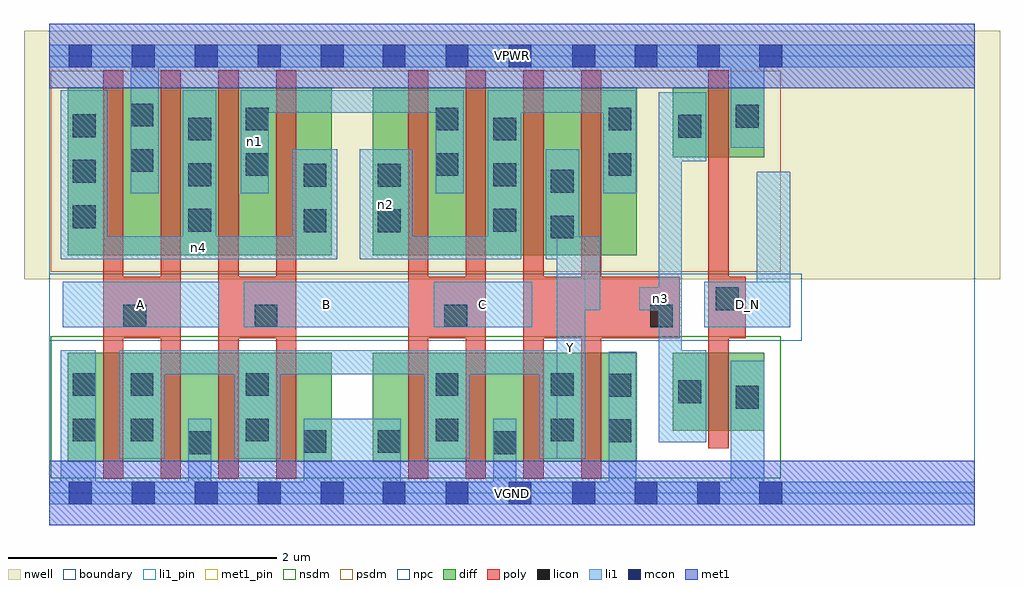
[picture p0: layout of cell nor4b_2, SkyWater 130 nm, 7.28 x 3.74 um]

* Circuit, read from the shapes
.subckt nor4b_2 A B C D_N VGND VPWR Y n1 n2 n3 n4
XM1 Y A VGND VSUBS sky130_fd_pr__nfet_01v8 w=0.81 l=0.15 m=2
XM2 Y B VGND VSUBS sky130_fd_pr__nfet_01v8 w=0.81 l=0.15 m=2
XM3 Y C VGND VSUBS sky130_fd_pr__nfet_01v8 w=0.81 l=0.15 m=2
XM4 Y n3 VGND VSUBS sky130_fd_pr__nfet_01v8 w=0.81 l=0.15 m=2
XM5 VGND D_N n3 VSUBS sky130_fd_pr__nfet_01v8 w=0.58 l=0.15
XM6 VPWR A n4 n5 sky130_fd_pr__pfet_01v8 w=1.25 l=0.15 m=2
XM7 n1 B n4 n5 sky130_fd_pr__pfet_01v8 w=1.25 l=0.15 m=2
XM8 n1 C n2 n5 sky130_fd_pr__pfet_01v8 w=1.25 l=0.15 m=2
XM9 Y n3 n2 n5 sky130_fd_pr__pfet_01v8 w=1.25 l=0.15 m=2
XM10 VPWR D_N n3 n5 sky130_fd_pr__pfet_01v8 w=0.52 l=0.15
.ends

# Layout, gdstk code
import gdstk
lib = gdstk.Library(unit=1e-6, precision=1e-09)
def R(c, l, rs):  # rectangles x0, y0, x1, y1
    for r in rs: c.add(gdstk.rectangle(r[:2], r[2:], *l))
def A(c, l, x, y, w, h, nx, ny, dx, dy):  # array of equal rectangles
    R(c, l, [(x+i*dx, y+j*dy, x+i*dx+w, y+j*dy+h) for i in range(nx) for j in range(ny)])
nwell = (64, 20)
diff = (65, 20)
poly = (66, 20)
licon = (66, 44)
li1_pin = (67, 16)
li1 = (67, 20)
mcon = (67, 44)
met1_pin = (68, 16)
met1 = (68, 20)
nsdm = (93, 44)
psdm = (94, 20)
npc = (95, 20)
boundary = (235, 4)

nor4b_2 = lib.new_cell('nor4b_2')
R(nor4b_2, nwell, [(-0.19,1.595,7.09,3.45), (0,1.595,6.9,3.45)])
R(nor4b_2, diff, [(0.135,0.235,2.105,1.045), (2.41,0.235,4.38,1.045), (4.65,0.465,5.33,1.045), (0.135,1.775,2.105,3.025), (2.41,1.775,4.38,3.025), (4.65,2.505,5.33,3.025)])
A(nor4b_2, poly, 0.4, 0.105, 0.15, 3.05, 4, 1, 0.43, 0)
A(nor4b_2, poly, 2.675, 0.105, 0.15, 3.05, 4, 1, 0.43, 0)
R(nor4b_2, poly, [(4.915,0.335,5.065,3.155), (0.4,1.155,0.98,1.615), (1.26,1.155,1.84,1.615), (2.675,1.155,3.255,1.615), (3.535,1.155,4.7,1.615), (4.915,1.155,5.195,1.615)])
A(nor4b_2, licon, 1.035, 1.95, 0.17, 0.17, 1, 3, 0, 0.34)
A(nor4b_2, licon, 3.31, 1.95, 0.17, 0.17, 1, 3, 0, 0.34)
A(nor4b_2, licon, 0.175, 1.975, 0.17, 0.17, 1, 3, 0, 0.34)
R(nor4b_2, licon, [(1.035,0.29,1.205,0.46), (3.31,0.29,3.48,0.46), (1.895,0.3,2.065,0.47), (2.45,0.3,2.62,0.47), (4.17,0.38,4.34,0.55), (0.175,0.385,0.345,0.555), (0.605,0.385,0.775,0.555), (1.465,0.385,1.635,0.555), (2.88,0.385,3.05,0.555), (3.74,0.385,3.91,0.555), (5.12,0.63,5.29,0.8), (4.69,0.67,4.86,0.84), (4.17,0.72,4.34,0.89), (0.175,0.725,0.345,0.895), (0.605,0.725,0.775,0.895), (1.465,0.725,1.635,0.895), (2.88,0.725,3.05,0.895), (3.74,0.725,3.91,0.895), (0.55,1.235,0.72,1.405), (1.53,1.235,1.7,1.405), (2.945,1.235,3.115,1.405), (4.48,1.235,4.65,1.405), (4.97,1.365,5.14,1.535), (3.74,1.9,3.91,2.07), (1.895,1.945,2.065,2.115), (2.45,1.945,2.62,2.115), (3.74,2.24,3.91,2.41), (1.895,2.285,2.065,2.455), (2.45,2.285,2.62,2.455), (1.465,2.365,1.635,2.535), (2.88,2.365,3.05,2.535), (4.17,2.365,4.34,2.535), (0.605,2.395,0.775,2.565), (4.69,2.65,4.86,2.82), (1.465,2.705,1.635,2.875), (2.88,2.705,3.05,2.875), (4.17,2.705,4.34,2.875), (5.12,2.725,5.29,2.895), (0.605,2.735,0.775,2.905)])
R(nor4b_2, li1_pin, [(3.785,0.255,3.995,1.915), (0.1,1.235,1.265,1.575), (1.45,1.235,2.68,1.575), (2.865,1.235,3.6,1.575), (4.885,1.235,5.525,1.575)])
R(nor4b_2, li1, [(0,-0.085,6.9,0.085), (0.085,-0.085,0.345,1.065), (1.035,-0.085,1.205,0.555), (1.895,-0.085,2.62,0.555), (3.31,-0.085,3.48,0.555), (4.17,-0.085,4.375,1.055), (5.08,-0.085,5.33,0.985), (0.52,0.255,0.86,1.065), (1.38,0.255,1.72,1.065), (2.795,0.255,3.135,1.065), (3.655,0.255,3.995,1.065), (3.785,0.255,3.995,1.915), (4.545,0.38,4.715,2.99), (4.545,0.38,4.9,1.065), (0.52,0.885,3.995,1.065), (0.1,1.235,1.265,1.575), (1.45,1.235,2.68,1.575), (2.865,1.235,3.6,1.575), (4.885,1.235,5.525,1.575), (5.275,1.235,5.525,2.395), (3.785,1.365,4.11,1.915), (4.4,1.365,4.715,1.535), (0.085,1.745,2.145,1.915), (0.085,1.745,0.43,3.005), (0.995,1.745,1.245,3.005), (1.81,1.745,2.145,2.565), (2.315,1.745,2.705,2.565), (2.315,1.745,3.52,1.915), (3.27,1.745,3.52,3.005), (3.7,1.745,3.95,2.565), (0.605,2.235,0.815,3.345), (1.425,2.235,1.635,3.005), (2.88,2.235,3.09,3.005), (4.13,2.235,4.375,3.005), (4.545,2.475,4.9,2.99), (5.08,2.575,5.33,3.345), (1.425,2.835,3.09,3.005), (3.27,2.835,4.375,3.005), (0,3.175,6.9,3.345)])
A(nor4b_2, mcon, 0.145, -0.085, 0.17, 0.17, 5, 2, 0.47, 3.26)
A(nor4b_2, mcon, 2.485, -0.085, 0.17, 0.17, 3, 2, 0.47, 3.26)
A(nor4b_2, mcon, 3.9, -0.085, 0.17, 0.17, 4, 2, 0.465, 3.26)
R(nor4b_2, met1_pin, [(0,-0.24,6.9,0.24), (0,3.02,6.9,3.5)])
R(nor4b_2, met1, [(0,-0.24,6.9,0.24), (0,3.02,6.9,3.5)])
R(nor4b_2, nsdm, [(0.01,0.11,5.455,1.17)])
R(nor4b_2, psdm, [(0.01,1.65,5.455,3.15)])
R(nor4b_2, npc, [(0,1.135,5.61,1.635)])
R(nor4b_2, boundary, [(0,0,6.9,3.26)])
nor4b_2.add(gdstk.Label('A', (0.682,1.405), layer=67, texttype=5))
nor4b_2.add(gdstk.Label('B', (2.065,1.405), layer=67, texttype=5))
nor4b_2.add(gdstk.Label('C', (3.232,1.405), layer=67, texttype=5))
nor4b_2.add(gdstk.Label('D_N', (5.205,1.405), layer=67, texttype=5))
nor4b_2.add(gdstk.Label('Y', (3.89,1.085), layer=67, texttype=5))
nor4b_2.add(gdstk.Label('n3', (4.557,1.45), layer=67, texttype=5))
nor4b_2.add(gdstk.Label('n4', (1.115,1.83), layer=67, texttype=5))
nor4b_2.add(gdstk.Label('n1', (1.53,2.62), layer=67, texttype=5))
nor4b_2.add(gdstk.Label('n2', (2.51,2.155), layer=67, texttype=5))
nor4b_2.add(gdstk.Label('VPWR', (3.45,3.26), layer=68, texttype=5))
nor4b_2.add(gdstk.Label('VGND', (3.45,0), layer=68, texttype=5))
nor4b_2.add(gdstk.Label('A', (0.682,1.405), layer=67, texttype=16))
nor4b_2.add(gdstk.Label('B', (2.065,1.405), layer=67, texttype=16))
nor4b_2.add(gdstk.Label('C', (3.232,1.405), layer=67, texttype=16))
nor4b_2.add(gdstk.Label('D_N', (5.205,1.405), layer=67, texttype=16))
nor4b_2.add(gdstk.Label('Y', (3.89,1.085), layer=67, texttype=16))
nor4b_2.add(gdstk.Label('VPWR', (3.45,3.26), layer=68, texttype=16))
nor4b_2.add(gdstk.Label('VGND', (3.45,0), layer=68, texttype=16))

lib.write_gds('nor4b_2.gds')
